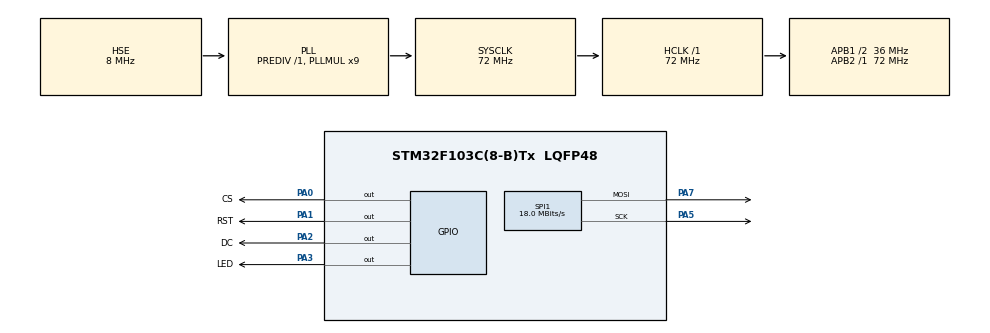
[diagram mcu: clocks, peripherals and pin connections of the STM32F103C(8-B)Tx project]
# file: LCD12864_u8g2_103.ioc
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Mcu.Family=STM32F1
Mcu.Name=STM32F103C(8-B)Tx
Mcu.Package=LQFP48
NVIC.PriorityGroup=NVIC_PRIORITYGROUP_4
NVIC.TIM4_IRQn=true\:15\:0\:false\:false\:true\:false\:true\:true
NVIC.TimeBase=TIM4_IRQn
NVIC.TimeBaseIP=TIM4
PA0-WKUP.GPIO_Label=CS
PA0-WKUP.Signal=GPIO_Output
PA1.GPIO_Label=RST
PA1.Signal=GPIO_Output
PA13.Mode=Serial_Wire
PA13.Signal=SYS_JTMS-SWDIO
PA14.Mode=Serial_Wire
PA14.Signal=SYS_JTCK-SWCLK
PA2.GPIO_Label=DC
PA2.Signal=GPIO_Output
PA3.GPIO_Label=LED
PA3.Signal=GPIO_Output
PA5.Mode=TX_Only_Simplex_Unidirect_Master
PA5.Signal=SPI1_SCK
PA7.Mode=TX_Only_Simplex_Unidirect_Master
PA7.Signal=SPI1_MOSI
PD0-OSC_IN.Mode=HSE-External-Oscillator
PD0-OSC_IN.Signal=RCC_OSC_IN
PD1-OSC_OUT.Mode=HSE-External-Oscillator
PD1-OSC_OUT.Signal=RCC_OSC_OUT
ProjectManager.HeapSize=0x200
ProjectManager.StackSize=0x400
ProjectManager.TargetToolchain=STM32CubeIDE
RCC.AHBFreq_Value=72000000
RCC.APB1CLKDivider=RCC_HCLK_DIV2
RCC.APB1Freq_Value=36000000
RCC.APB1TimFreq_Value=72000000
RCC.APB2Freq_Value=72000000
RCC.APB2TimFreq_Value=72000000
RCC.HCLKFreq_Value=72000000
RCC.PLLMUL=RCC_PLL_MUL9
RCC.PLLSourceVirtual=RCC_PLLSOURCE_HSE
RCC.SYSCLKFreq_VALUE=72000000
RCC.SYSCLKSource=RCC_SYSCLKSOURCE_PLLCLK
RCC.USBFreq_Value=72000000
SPI1.BaudRatePrescaler=SPI_BAUDRATEPRESCALER_4
SPI1.CLKPhase=SPI_PHASE_1EDGE
SPI1.CLKPolarity=SPI_POLARITY_LOW
SPI1.CalculateBaudRate=18.0 MBits/s
SPI1.DataSize=SPI_DATASIZE_8BIT
SPI1.Direction=SPI_DIRECTION_2LINES
SPI1.Mode=SPI_MODE_MASTER
SPI1.VirtualType=VM_MASTER
VP_SYS_VS_tim4.Mode=TIM4
board=custom

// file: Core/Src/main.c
/* USER CODE BEGIN Header */
/**
  ******************************************************************************
  * @file           : main.c
  * @brief          : Main program body
  ******************************************************************************
  * @attention
  *
  * Copyright (c) 2023 STMicroelectronics.
  * All rights reserved.
  *
  * This software is licensed under terms that can be found in the LICENSE file
  * in the root directory of this software component.
  * If no LICENSE file comes with this software, it is provided AS-IS.
  *
  ******************************************************************************
  */
/* USER CODE END Header */
#include "main.h"

/* USER CODE BEGIN Includes */
#include <stdio.h>
#include <stdbool.h>
#include <GMG12864_lib.h>

extern char tx_buffer[128]; // Буфер для отправки текста на дисплей
extern uint8_t Frame_buffer[1024]; // Буфер кадра
// Если планируете выводить один график, то
extern uint8_t cnt;
extern const uint8_t size_array; // Размер массива. В нашем случае ширина 100 точек (График 100*50 пикселей)
extern uint8_t arr[100]; // Значение на графике. Заполняется в определенный момент времени (каждый шаг сдвига графика влево)
extern bool array_is_full; // Значения заполнили массив, сдвигать график влево.

uint8_t counter = 0;
uint8_t x,y,font,inversion;
uint8_t value = 0;
uint8_t y_min = 0;
uint8_t y_max = 255;
uint8_t grid = 0;
/* USER CODE END Includes */

SPI_HandleTypeDef hspi1;

void SystemClock_Config(void);
static void MX_GPIO_Init(void);
static void MX_SPI1_Init(void);

int main(void)
{

  /* MCU Configuration--------------------------------------------------------*/

  /* Reset of all peripherals, Initializes the Flash interface and the Systick. */
  HAL_Init();

  /* Configure the system clock */
  SystemClock_Config();

  /* Initialize all configured peripherals */
  MX_GPIO_Init();
  MX_SPI1_Init();
  /* USER CODE BEGIN 2 */
GMG12864_Init();
HAL_GPIO_WritePin(LED_GPIO_Port, LED_Pin, GPIO_PIN_SET);// Включить подсветку экрана.
//GMG12864_logo_demonstration();
//Frame_buffer[0] = 0xff;// установит курсор в начало экрана
//GMG12864_Update();

//GMG12864_DrawBitmap(peaple, 20, 25, 32, 32);// вывод рожицы по указанным координатам.

//HAL_GPIO_WritePin(LED_GPIO_Port, LED_Pin, GPIO_PIN_RESET);
  /* USER CODE END 2 */

  /* Infinite loop */
  while (1)
  {

    /* USER CODE BEGIN 3 */
	  counter++;
	  // Вывод кириллицы
	  sprintf(tx_buffer, "Zerg - cчетчик : %.3d", counter);
	  GMG12864_Decode_UTF8(x, y, 1, inversion, tx_buffer);
	  GMG12864_Update();
	  GMG12864_Clean_Frame_buffer();

	  // Вывод графика
//	  value = GMG12864_Value_for_Plot(y_min, y_max, counter);
//	  GMG12864_Fill_the_array_Plot(&cnt, arr, size_array, value);
//	  GMG12864_Generate_a_Graph(&cnt, arr, size_array, y_min, y_max, 1, 0, grid);
//	  GMG12864_Update();
	  HAL_Delay(100);
  }
  /* USER CODE END 3 */
}

void SystemClock_Config(void)
{
  RCC_OscInitTypeDef RCC_OscInitStruct = {0};
  RCC_ClkInitTypeDef RCC_ClkInitStruct = {0};

  /** Initializes the RCC Oscillators according to the specified parameters
  * in the RCC_OscInitTypeDef structure.
  */
  RCC_OscInitStruct.OscillatorType = RCC_OSCILLATORTYPE_HSE;
  RCC_OscInitStruct.HSEState = RCC_HSE_ON;
  RCC_OscInitStruct.HSEPredivValue = RCC_HSE_PREDIV_DIV1;
  RCC_OscInitStruct.HSIState = RCC_HSI_ON;
  RCC_OscInitStruct.PLL.PLLState = RCC_PLL_ON;
  RCC_OscInitStruct.PLL.PLLSource = RCC_PLLSOURCE_HSE;
  RCC_OscInitStruct.PLL.PLLMUL = RCC_PLL_MUL9;
  if (HAL_RCC_OscConfig(&RCC_OscInitStruct) != HAL_OK)
  {
    Error_Handler();
  }

  /** Initializes the CPU, AHB and APB buses clocks
  */
  RCC_ClkInitStruct.ClockType = RCC_CLOCKTYPE_HCLK|RCC_CLOCKTYPE_SYSCLK
                              |RCC_CLOCKTYPE_PCLK1|RCC_CLOCKTYPE_PCLK2;
  RCC_ClkInitStruct.SYSCLKSource = RCC_SYSCLKSOURCE_PLLCLK;
  RCC_ClkInitStruct.AHBCLKDivider = RCC_SYSCLK_DIV1;
  RCC_ClkInitStruct.APB1CLKDivider = RCC_HCLK_DIV2;
  RCC_ClkInitStruct.APB2CLKDivider = RCC_HCLK_DIV1;

  if (HAL_RCC_ClockConfig(&RCC_ClkInitStruct, FLASH_LATENCY_2) != HAL_OK)
  {
    Error_Handler();
  }
}

static void MX_SPI1_Init(void)
{

  /* SPI1 parameter configuration*/
  hspi1.Instance = SPI1;
  hspi1.Init.Mode = SPI_MODE_MASTER;
  hspi1.Init.Direction = SPI_DIRECTION_2LINES;
  hspi1.Init.DataSize = SPI_DATASIZE_8BIT;
  hspi1.Init.CLKPolarity = SPI_POLARITY_LOW;
  hspi1.Init.CLKPhase = SPI_PHASE_1EDGE;
  hspi1.Init.NSS = SPI_NSS_SOFT;
  hspi1.Init.BaudRatePrescaler = SPI_BAUDRATEPRESCALER_4;
  hspi1.Init.FirstBit = SPI_FIRSTBIT_MSB;
  hspi1.Init.TIMode = SPI_TIMODE_DISABLE;
  hspi1.Init.CRCCalculation = SPI_CRCCALCULATION_DISABLE;
  hspi1.Init.CRCPolynomial = 10;
  if (HAL_SPI_Init(&hspi1) != HAL_OK)
  {
    Error_Handler();
  }

}

static void MX_GPIO_Init(void)
{
  GPIO_InitTypeDef GPIO_InitStruct = {0};

  /* GPIO Ports Clock Enable */
  __HAL_RCC_GPIOD_CLK_ENABLE();
  __HAL_RCC_GPIOA_CLK_ENABLE();

  /*Configure GPIO pin Output Level */
  HAL_GPIO_WritePin(GPIOA, CS_Pin|RST_Pin|DC_Pin|LED_Pin, GPIO_PIN_RESET);

  /*Configure GPIO pins : CS_Pin RST_Pin DC_Pin LED_Pin */
  GPIO_InitStruct.Pin = CS_Pin|RST_Pin|DC_Pin|LED_Pin;
  GPIO_InitStruct.Mode = GPIO_MODE_OUTPUT_PP;
  GPIO_InitStruct.Pull = GPIO_NOPULL;
  GPIO_InitStruct.Speed = GPIO_SPEED_FREQ_LOW;
  HAL_GPIO_Init(GPIOA, &GPIO_InitStruct);

}

void HAL_TIM_PeriodElapsedCallback(TIM_HandleTypeDef *htim)
{
  if (htim->Instance == TIM4) {
    HAL_IncTick();
  }
}

void Error_Handler(void)
{
  __disable_irq();
  while (1)
  {
  }
}
